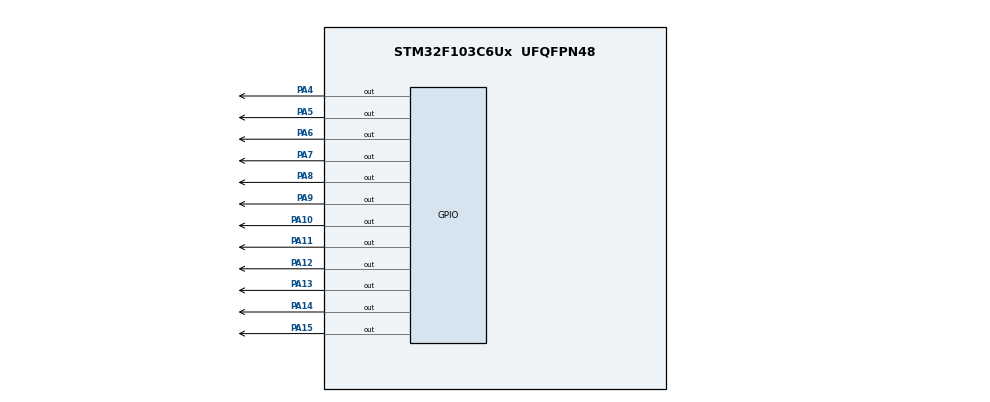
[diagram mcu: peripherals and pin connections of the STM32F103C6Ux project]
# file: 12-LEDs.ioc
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Mcu.Family=STM32F1
Mcu.Name=STM32F103C6Ux
Mcu.Package=UFQFPN48
NVIC.PriorityGroup=NVIC_PRIORITYGROUP_4
PA10.Signal=GPIO_Output
PA11.Signal=GPIO_Output
PA12.Signal=GPIO_Output
PA13.Signal=GPIO_Output
PA14.Signal=GPIO_Output
PA15.Signal=GPIO_Output
PA4.Signal=GPIO_Output
PA5.Signal=GPIO_Output
PA6.Signal=GPIO_Output
PA7.Signal=GPIO_Output
PA8.Signal=GPIO_Output
PA9.Signal=GPIO_Output
ProjectManager.HeapSize=0x200
ProjectManager.StackSize=0x400
ProjectManager.TargetToolchain=STM32CubeIDE
RCC.APB1Freq_Value=8000000
RCC.APB2Freq_Value=8000000
VP_SYS_VS_ND.Mode=No_Debug
board=custom

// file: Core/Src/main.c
/* USER CODE BEGIN Header */
/**
  ******************************************************************************
  * @file           : main.c
  * @brief          : Main program body
  ******************************************************************************
  * @attention
  *
  * <h2><center>&copy; Copyright (c) 2023 STMicroelectronics.
  * All rights reserved.</center></h2>
  *
  * This software component is licensed by ST under BSD 3-Clause license,
  * the "License"; You may not use this file except in compliance with the
  * License. You may obtain a copy of the License at:
  *                        opensource.org/licenses/BSD-3-Clause
  *
  ******************************************************************************
  */
/* USER CODE END Header */
#include "main.h"

void SystemClock_Config(void);
static void MX_GPIO_Init(void);
void setLED(int num);
void clearAllClock();
void setNumberOnClock(int num);
void clearNumberOnClock(int num);
void displayClock(int hour, int num, int second);

int main(void)
{

  /* MCU Configuration--------------------------------------------------------*/

  /* Reset of all peripherals, Initializes the Flash interface and the Systick. */
  HAL_Init();

  /* Configure the system clock */
  SystemClock_Config();

  /* Initialize all configured peripherals */
  MX_GPIO_Init();

  /* Infinite loop */
  /* USER CODE BEGIN WHILE */
  clearAllClock();
  int hour = 6;
  int minute = 50;
  int second = 0;
  while (1)
  {
    /* USER CODE END WHILE */
	  displayClock(hour, minute, second);
	  second++;
	  if(second >= 60){
		  second = 0;
		  minute++;
	  }
	  if(minute >= 60){
		  minute = 0;
		  hour++;
	  }
	  if(hour >= 12){
		  hour = 0;
	  }
	  HAL_Delay(10);
  }
}

void SystemClock_Config(void)
{
  RCC_OscInitTypeDef RCC_OscInitStruct = {0};
  RCC_ClkInitTypeDef RCC_ClkInitStruct = {0};

  /** Initializes the RCC Oscillators according to the specified parameters
  * in the RCC_OscInitTypeDef structure.
  */
  RCC_OscInitStruct.OscillatorType = RCC_OSCILLATORTYPE_HSI;
  RCC_OscInitStruct.HSIState = RCC_HSI_ON;
  RCC_OscInitStruct.HSICalibrationValue = RCC_HSICALIBRATION_DEFAULT;
  RCC_OscInitStruct.PLL.PLLState = RCC_PLL_NONE;
  if (HAL_RCC_OscConfig(&RCC_OscInitStruct) != HAL_OK)
  {
    Error_Handler();
  }
  /** Initializes the CPU, AHB and APB buses clocks
  */
  RCC_ClkInitStruct.ClockType = RCC_CLOCKTYPE_HCLK|RCC_CLOCKTYPE_SYSCLK
                              |RCC_CLOCKTYPE_PCLK1|RCC_CLOCKTYPE_PCLK2;
  RCC_ClkInitStruct.SYSCLKSource = RCC_SYSCLKSOURCE_HSI;
  RCC_ClkInitStruct.AHBCLKDivider = RCC_SYSCLK_DIV1;
  RCC_ClkInitStruct.APB1CLKDivider = RCC_HCLK_DIV1;
  RCC_ClkInitStruct.APB2CLKDivider = RCC_HCLK_DIV1;

  if (HAL_RCC_ClockConfig(&RCC_ClkInitStruct, FLASH_LATENCY_0) != HAL_OK)
  {
    Error_Handler();
  }
}

static void MX_GPIO_Init(void)
{
  GPIO_InitTypeDef GPIO_InitStruct = {0};

  /* GPIO Ports Clock Enable */
  __HAL_RCC_GPIOA_CLK_ENABLE();

  /*Configure GPIO pin Output Level */
  HAL_GPIO_WritePin(GPIOA, GPIO_PIN_4|GPIO_PIN_5|GPIO_PIN_6|GPIO_PIN_7
                          |GPIO_PIN_8|GPIO_PIN_9|GPIO_PIN_10|GPIO_PIN_11
                          |GPIO_PIN_12|GPIO_PIN_13|GPIO_PIN_14|GPIO_PIN_15, GPIO_PIN_RESET);

  /*Configure GPIO pins : PA4 PA5 PA6 PA7
                           PA8 PA9 PA10 PA11
                           PA12 PA13 PA14 PA15 */
  GPIO_InitStruct.Pin = GPIO_PIN_4|GPIO_PIN_5|GPIO_PIN_6|GPIO_PIN_7
                          |GPIO_PIN_8|GPIO_PIN_9|GPIO_PIN_10|GPIO_PIN_11
                          |GPIO_PIN_12|GPIO_PIN_13|GPIO_PIN_14|GPIO_PIN_15;
  GPIO_InitStruct.Mode = GPIO_MODE_OUTPUT_PP;
  GPIO_InitStruct.Pull = GPIO_NOPULL;
  GPIO_InitStruct.Speed = GPIO_SPEED_FREQ_LOW;
  HAL_GPIO_Init(GPIOA, &GPIO_InitStruct);

}

/* USER CODE BEGIN 4 */
void setLED(int num){
switch (num){
	case 0:
		HAL_GPIO_WritePin(GPIOA, GPIO_PIN_4, RESET);
		HAL_GPIO_WritePin(GPIOA, GPIO_PIN_5, SET);
		HAL_GPIO_WritePin(GPIOA, GPIO_PIN_6, SET);
		HAL_GPIO_WritePin(GPIOA, GPIO_PIN_7, SET);
		HAL_GPIO_WritePin(GPIOA, GPIO_PIN_8, SET);
		HAL_GPIO_WritePin(GPIOA, GPIO_PIN_9, SET);
		HAL_GPIO_WritePin(GPIOA, GPIO_PIN_10, SET);
		HAL_GPIO_WritePin(GPIOA, GPIO_PIN_11, SET);
		HAL_GPIO_WritePin(GPIOA, GPIO_PIN_12, SET);
		HAL_GPIO_WritePin(GPIOA, GPIO_PIN_13, SET);
		HAL_GPIO_WritePin(GPIOA, GPIO_PIN_14, SET);
		HAL_GPIO_WritePin(GPIOA, GPIO_PIN_15, SET);
		break;
	case 1:
		HAL_GPIO_WritePin(GPIOA, GPIO_PIN_4, SET);
		HAL_GPIO_WritePin(GPIOA, GPIO_PIN_5, RESET);
		HAL_GPIO_WritePin(GPIOA, GPIO_PIN_6, SET);
		HAL_GPIO_WritePin(GPIOA, GPIO_PIN_7, SET);
		HAL_GPIO_WritePin(GPIOA, GPIO_PIN_8, SET);
		HAL_GPIO_WritePin(GPIOA, GPIO_PIN_9, SET);
		HAL_GPIO_WritePin(GPIOA, GPIO_PIN_10, SET);
		HAL_GPIO_WritePin(GPIOA, GPIO_PIN_11, SET);
		HAL_GPIO_WritePin(GPIOA, GPIO_PIN_12, SET);
		HAL_GPIO_WritePin(GPIOA, GPIO_PIN_13, SET);
		HAL_GPIO_WritePin(GPIOA, GPIO_PIN_14, SET);
		HAL_GPIO_WritePin(GPIOA, GPIO_PIN_15, SET);
		break;
	case 2:
		HAL_GPIO_WritePin(GPIOA, GPIO_PIN_4, SET);
		HAL_GPIO_WritePin(GPIOA, GPIO_PIN_5, SET);
		HAL_GPIO_WritePin(GPIOA, GPIO_PIN_6, RESET);
		HAL_GPIO_WritePin(GPIOA, GPIO_PIN_7, SET);
		HAL_GPIO_WritePin(GPIOA, GPIO_PIN_8, SET);
		HAL_GPIO_WritePin(GPIOA, GPIO_PIN_9, SET);
		HAL_GPIO_WritePin(GPIOA, GPIO_PIN_10, SET);
		HAL_GPIO_WritePin(GPIOA, GPIO_PIN_11, SET);
		HAL_GPIO_WritePin(GPIOA, GPIO_PIN_12, SET);
		HAL_GPIO_WritePin(GPIOA, GPIO_PIN_13, SET);
		HAL_GPIO_WritePin(GPIOA, GPIO_PIN_14, SET);
		HAL_GPIO_WritePin(GPIOA, GPIO_PIN_15, SET);
		break;
	case 3:
		HAL_GPIO_WritePin(GPIOA, GPIO_PIN_4, SET);
		HAL_GPIO_WritePin(GPIOA, GPIO_PIN_5, SET);
		HAL_GPIO_WritePin(GPIOA, GPIO_PIN_6, SET);
		HAL_GPIO_WritePin(GPIOA, GPIO_PIN_7, RESET);
		HAL_GPIO_WritePin(GPIOA, GPIO_PIN_8, SET);
		HAL_GPIO_WritePin(GPIOA, GPIO_PIN_9, SET);
		HAL_GPIO_WritePin(GPIOA, GPIO_PIN_10, SET);
		HAL_GPIO_WritePin(GPIOA, GPIO_PIN_11, SET);
		HAL_GPIO_WritePin(GPIOA, GPIO_PIN_12, SET);
		HAL_GPIO_WritePin(GPIOA, GPIO_PIN_13, SET);
		HAL_GPIO_WritePin(GPIOA, GPIO_PIN_14, SET);
		HAL_GPIO_WritePin(GPIOA, GPIO_PIN_15, SET);
		break;
	case 4:
		HAL_GPIO_WritePin(GPIOA, GPIO_PIN_4, SET);
		HAL_GPIO_WritePin(GPIOA, GPIO_PIN_5, SET);
		HAL_GPIO_WritePin(GPIOA, GPIO_PIN_6, SET);
		HAL_GPIO_WritePin(GPIOA, GPIO_PIN_7, SET);
		HAL_GPIO_WritePin(GPIOA, GPIO_PIN_8, RESET);
		HAL_GPIO_WritePin(GPIOA, GPIO_PIN_9, SET);
		HAL_GPIO_WritePin(GPIOA, GPIO_PIN_10, SET);
		HAL_GPIO_WritePin(GPIOA, GPIO_PIN_11, SET);
		HAL_GPIO_WritePin(GPIOA, GPIO_PIN_12, SET);
		HAL_GPIO_WritePin(GPIOA, GPIO_PIN_13, SET);
		HAL_GPIO_WritePin(GPIOA, GPIO_PIN_14, SET);
		HAL_GPIO_WritePin(GPIOA, GPIO_PIN_15, SET);
		break;
	case 5:
		HAL_GPIO_WritePin(GPIOA, GPIO_PIN_4, SET);
		HAL_GPIO_WritePin(GPIOA, GPIO_PIN_5, SET);
		HAL_GPIO_WritePin(GPIOA, GPIO_PIN_6, SET);
		HAL_GPIO_WritePin(GPIOA, GPIO_PIN_7, SET);
		HAL_GPIO_WritePin(GPIOA, GPIO_PIN_8, SET);
		HAL_GPIO_WritePin(GPIOA, GPIO_PIN_9, RESET);
		HAL_GPIO_WritePin(GPIOA, GPIO_PIN_10, SET);
		HAL_GPIO_WritePin(GPIOA, GPIO_PIN_11, SET);
		HAL_GPIO_WritePin(GPIOA, GPIO_PIN_12, SET);
		HAL_GPIO_WritePin(GPIOA, GPIO_PIN_13, SET);
		HAL_GPIO_WritePin(GPIOA, GPIO_PIN_14, SET);
		HAL_GPIO_WritePin(GPIOA, GPIO_PIN_15, SET);
		break;
	case 6:
		HAL_GPIO_WritePin(GPIOA, GPIO_PIN_4, SET);
		HAL_GPIO_WritePin(GPIOA, GPIO_PIN_5, SET);
		HAL_GPIO_WritePin(GPIOA, GPIO_PIN_6, SET);
		HAL_GPIO_WritePin(GPIOA, GPIO_PIN_7, SET);
		HAL_GPIO_WritePin(GPIOA, GPIO_PIN_8, SET);
		HAL_GPIO_WritePin(GPIOA, GPIO_PIN_9, SET);
		HAL_GPIO_WritePin(GPIOA, GPIO_PIN_10, RESET);
		HAL_GPIO_WritePin(GPIOA, GPIO_PIN_11, SET);
		HAL_GPIO_WritePin(GPIOA, GPIO_PIN_12, SET);
		HAL_GPIO_WritePin(GPIOA, GPIO_PIN_13, SET);
		HAL_GPIO_WritePin(GPIOA, GPIO_PIN_14, SET);
		HAL_GPIO_WritePin(GPIOA, GPIO_PIN_15, SET);
		break;
	case 7:
		HAL_GPIO_WritePin(GPIOA, GPIO_PIN_4, SET);
		HAL_GPIO_WritePin(GPIOA, GPIO_PIN_5, SET);
		HAL_GPIO_WritePin(GPIOA, GPIO_PIN_6, SET);
		HAL_GPIO_WritePin(GPIOA, GPIO_PIN_7, SET);
		HAL_GPIO_WritePin(GPIOA, GPIO_PIN_8, SET);
		HAL_GPIO_WritePin(GPIOA, GPIO_PIN_9, SET);
		HAL_GPIO_WritePin(GPIOA, GPIO_PIN_10, SET);
		HAL_GPIO_WritePin(GPIOA, GPIO_PIN_11, RESET);
		HAL_GPIO_WritePin(GPIOA, GPIO_PIN_12, SET);
		HAL_GPIO_WritePin(GPIOA, GPIO_PIN_13, SET);
		HAL_GPIO_WritePin(GPIOA, GPIO_PIN_14, SET);
		HAL_GPIO_WritePin(GPIOA, GPIO_PIN_15, SET);
		break;
	case 8:
		HAL_GPIO_WritePin(GPIOA, GPIO_PIN_4, SET);
		HAL_GPIO_WritePin(GPIOA, GPIO_PIN_5, SET);
		HAL_GPIO_WritePin(GPIOA, GPIO_PIN_6, SET);
		HAL_GPIO_WritePin(GPIOA, GPIO_PIN_7, SET);
		HAL_GPIO_WritePin(GPIOA, GPIO_PIN_8, SET);
		HAL_GPIO_WritePin(GPIOA, GPIO_PIN_9, SET);
		HAL_GPIO_WritePin(GPIOA, GPIO_PIN_10, SET);
		HAL_GPIO_WritePin(GPIOA, GPIO_PIN_11, SET);
		HAL_GPIO_WritePin(GPIOA, GPIO_PIN_12, RESET);
		HAL_GPIO_WritePin(GPIOA, GPIO_PIN_13, SET);
		HAL_GPIO_WritePin(GPIOA, GPIO_PIN_14, SET);
		HAL_GPIO_WritePin(GPIOA, GPIO_PIN_15, SET);
		break;
	case 9:
		HAL_GPIO_WritePin(GPIOA, GPIO_PIN_4, SET);
		HAL_GPIO_WritePin(GPIOA, GPIO_PIN_5, SET);
		HAL_GPIO_WritePin(GPIOA, GPIO_PIN_6, SET);
		HAL_GPIO_WritePin(GPIOA, GPIO_PIN_7, SET);
		HAL_GPIO_WritePin(GPIOA, GPIO_PIN_8, SET);
		HAL_GPIO_WritePin(GPIOA, GPIO_PIN_9, SET);
		HAL_GPIO_WritePin(GPIOA, GPIO_PIN_10, SET);
		HAL_GPIO_WritePin(GPIOA, GPIO_PIN_11, SET);
		HAL_GPIO_WritePin(GPIOA, GPIO_PIN_12, SET);
		HAL_GPIO_WritePin(GPIOA, GPIO_PIN_13, RESET);
		HAL_GPIO_WritePin(GPIOA, GPIO_PIN_14, SET);
		HAL_GPIO_WritePin(GPIOA, GPIO_PIN_15, SET);
		break;
	case 10:
		HAL_GPIO_WritePin(GPIOA, GPIO_PIN_4, SET);
		HAL_GPIO_WritePin(GPIOA, GPIO_PIN_5, SET);
		HAL_GPIO_WritePin(GPIOA, GPIO_PIN_6, SET);
		HAL_GPIO_WritePin(GPIOA, GPIO_PIN_7, SET);
		HAL_GPIO_WritePin(GPIOA, GPIO_PIN_8, SET);
		HAL_GPIO_WritePin(GPIOA, GPIO_PIN_9, SET);
		HAL_GPIO_WritePin(GPIOA, GPIO_PIN_10, SET);
		HAL_GPIO_WritePin(GPIOA, GPIO_PIN_11, SET);
		HAL_GPIO_WritePin(GPIOA, GPIO_PIN_12, SET);
		HAL_GPIO_WritePin(GPIOA, GPIO_PIN_13, SET);
		HAL_GPIO_WritePin(GPIOA, GPIO_PIN_14, RESET);
		HAL_GPIO_WritePin(GPIOA, GPIO_PIN_15, SET);
		break;
	case 11:
		HAL_GPIO_WritePin(GPIOA, GPIO_PIN_4, SET);
		HAL_GPIO_WritePin(GPIOA, GPIO_PIN_5, SET);
		HAL_GPIO_WritePin(GPIOA, GPIO_PIN_6, SET);
		HAL_GPIO_WritePin(GPIOA, GPIO_PIN_7, SET);
		HAL_GPIO_WritePin(GPIOA, GPIO_PIN_8, SET);
		HAL_GPIO_WritePin(GPIOA, GPIO_PIN_9, SET);
		HAL_GPIO_WritePin(GPIOA, GPIO_PIN_10, SET);
		HAL_GPIO_WritePin(GPIOA, GPIO_PIN_11, SET);
		HAL_GPIO_WritePin(GPIOA, GPIO_PIN_12, SET);
		HAL_GPIO_WritePin(GPIOA, GPIO_PIN_13, SET);
		HAL_GPIO_WritePin(GPIOA, GPIO_PIN_14, SET);
		HAL_GPIO_WritePin(GPIOA, GPIO_PIN_15, RESET);
		break;
}
}
void clearAllClock(){
	HAL_GPIO_WritePin(GPIOA, GPIO_PIN_4, SET);
	HAL_GPIO_WritePin(GPIOA, GPIO_PIN_5, SET);
	HAL_GPIO_WritePin(GPIOA, GPIO_PIN_6, SET);
	HAL_GPIO_WritePin(GPIOA, GPIO_PIN_7, SET);
	HAL_GPIO_WritePin(GPIOA, GPIO_PIN_8, SET);
	HAL_GPIO_WritePin(GPIOA, GPIO_PIN_9, SET);
	HAL_GPIO_WritePin(GPIOA, GPIO_PIN_10, SET);
	HAL_GPIO_WritePin(GPIOA, GPIO_PIN_11, SET);
	HAL_GPIO_WritePin(GPIOA, GPIO_PIN_12, SET);
	HAL_GPIO_WritePin(GPIOA, GPIO_PIN_13, SET);
	HAL_GPIO_WritePin(GPIOA, GPIO_PIN_14, SET);
	HAL_GPIO_WritePin(GPIOA, GPIO_PIN_15, SET);
}
void setNumberOnClock(int num){
switch (num){
	case 0:
		HAL_GPIO_WritePin(GPIOA, GPIO_PIN_4, RESET);
		break;
	case 1:
		HAL_GPIO_WritePin(GPIOA, GPIO_PIN_5, RESET);
		break;
	case 2:
		HAL_GPIO_WritePin(GPIOA, GPIO_PIN_6, RESET);
		break;
	case 3:
		HAL_GPIO_WritePin(GPIOA, GPIO_PIN_7, RESET);
		break;
	case 4:
		HAL_GPIO_WritePin(GPIOA, GPIO_PIN_8, RESET);
		break;
	case 5:
		HAL_GPIO_WritePin(GPIOA, GPIO_PIN_9, RESET);
		break;
	case 6:
		HAL_GPIO_WritePin(GPIOA, GPIO_PIN_10, RESET);
		break;
	case 7:
		HAL_GPIO_WritePin(GPIOA, GPIO_PIN_11, RESET);
		break;
	case 8:
		HAL_GPIO_WritePin(GPIOA, GPIO_PIN_12, RESET);
		break;
	case 9:
		HAL_GPIO_WritePin(GPIOA, GPIO_PIN_13, RESET);
		break;
	case 10:
		HAL_GPIO_WritePin(GPIOA, GPIO_PIN_14, RESET);
		break;
	case 11:
		HAL_GPIO_WritePin(GPIOA, GPIO_PIN_15, RESET);
		break;
}
}
void clearNumberOnClock(int num){
switch (num){
case 0:
		HAL_GPIO_WritePin(GPIOA, GPIO_PIN_4, SET);
		break;
	case 1:
		HAL_GPIO_WritePin(GPIOA, GPIO_PIN_5, SET);
		break;
	case 2:
		HAL_GPIO_WritePin(GPIOA, GPIO_PIN_6, SET);
		break;
	case 3:
		HAL_GPIO_WritePin(GPIOA, GPIO_PIN_7, SET);
		break;
	case 4:
		HAL_GPIO_WritePin(GPIOA, GPIO_PIN_8, SET);
		break;
	case 5:
		HAL_GPIO_WritePin(GPIOA, GPIO_PIN_9, SET);
		break;
	case 6:
		HAL_GPIO_WritePin(GPIOA, GPIO_PIN_10, SET);
		break;
	case 7:
		HAL_GPIO_WritePin(GPIOA, GPIO_PIN_11, SET);
		break;
	case 8:
		HAL_GPIO_WritePin(GPIOA, GPIO_PIN_12, SET);
		break;
	case 9:
		HAL_GPIO_WritePin(GPIOA, GPIO_PIN_13, SET);
		break;
	case 10:
		HAL_GPIO_WritePin(GPIOA, GPIO_PIN_14, SET);
		break;
	case 11:
		HAL_GPIO_WritePin(GPIOA, GPIO_PIN_15, SET);
		break;
}
}
void displayClock(int hour, int minute, int second){
	int sec = second / 5;
	int min = minute / 5;
	if(second % 5 == 0){
		clearAllClock();
		setNumberOnClock(hour);
		setNumberOnClock(min);
		setNumberOnClock(sec);
	}
}
/* USER CODE END 4 */

void Error_Handler(void)
{
  __disable_irq();
  while (1)
  {
  }
}

/************************ (C) COPYRIGHT STMicroelectronics *****END OF FILE****/
